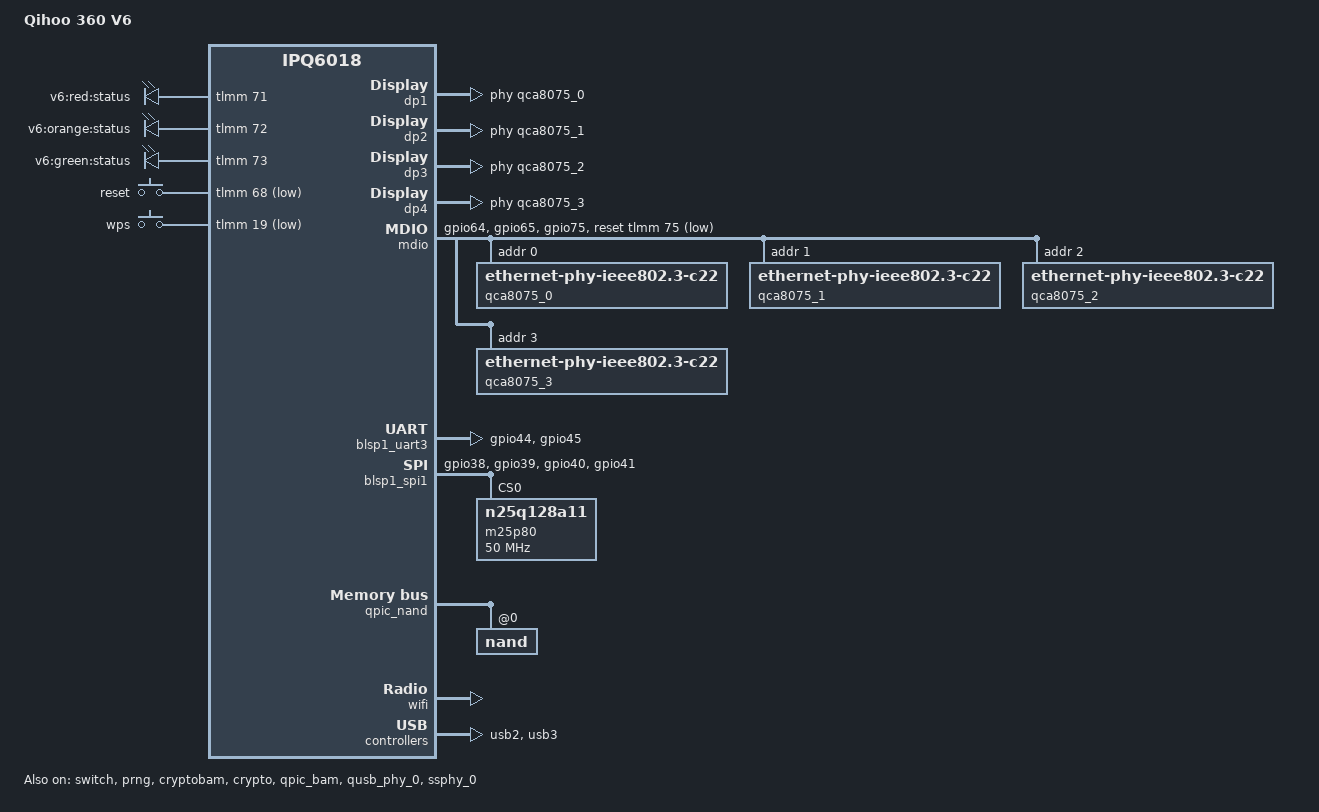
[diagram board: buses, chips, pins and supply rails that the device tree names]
// SPDX-License-Identifier: GPL-2.0-or-later OR MIT

/dts-v1/;

#include "ipq6018.dtsi"
#include "ipq6018-512m.dtsi"
#include "ipq6018-ess.dtsi"
#include "ipq6018-nss.dtsi"
#include "ipq6018-cp-cpu.dtsi"

#include <dt-bindings/gpio/gpio.h>
#include <dt-bindings/input/input.h>

/ {
	model = "Qihoo 360 V6";
	compatible = "qihoo,360v6", "qcom,ipq6018-cp03", "qcom,ipq6018";
	qcom,msm-id = <0x192 0x0>;

	aliases {
		serial0 = &blsp1_uart3;
		led-boot = &led_system_orange;
		led-failsafe = &led_system_red;
		led-running = &led_system_green;
		led-upgrade = &led_system_orange;
	};

	chosen {
		bootargs-append = " root=/dev/ubiblock0_1";
	};

	leds {
		compatible = "gpio-leds";
		pinctrl-0 = <&leds_pins>;
		pinctrl-names = "default";

		led_system_red: system-red {
			label = "v6:red:status";
			gpios = <&tlmm 71 GPIO_ACTIVE_HIGH>;
		};

		led_system_orange: system-orange {
			label = "v6:orange:status";
			gpios = <&tlmm 72 GPIO_ACTIVE_HIGH>;
		};

		led_system_green: system-green {
			label = "v6:green:status";
			gpios = <&tlmm 73 GPIO_ACTIVE_HIGH>;
		};
	};

	keys {
		compatible = "gpio-keys";

		reset {
			label = "reset";
			gpios = <&tlmm 68 GPIO_ACTIVE_LOW>;
			linux,code = <KEY_RESTART>;
		};

		wps {
			label = "wps";
			gpios = <&tlmm 19 GPIO_ACTIVE_LOW>;
			linux,code = <KEY_WPS_BUTTON>;
		};
	};
};

&tlmm {
	uart_pins: uart_pins {
		mux {
			pins = "gpio44", "gpio45";
			function = "blsp2_uart";
			drive-strength = <0x08>;
			bias-pull-down;
		};
	};

	spi_1_pins: spi_1_pins {
		mux {
			pins = "gpio38", "gpio39", "gpio40", "gpio41";
			function = "blsp0_spi";
			drive-strength = <0x08>;
			bias-pull-down;
		};
	};

	mdio_pins: mdio-pins {
		mdc {
			pins = "gpio64";
			function = "mdc";
			drive-strength = <8>;
			bias-pull-up;
		};

		mdio {
			pins = "gpio65";
			function = "mdio";
			drive-strength = <8>;
			bias-pull-up;
		};

		mux_2 {
            pins = "gpio75";
            function = "gpio";
            bias-pull-up;
        };
	};

	leds_pins: leds_pins {
		mux {
			pins = "gpio71", "gpio72", "gpio73";
			function = "gpio";
			drive-strength = <8>;
			bias-pull-down;
		};
	};
};

&dp1 {
	phy-handle = <&qca8075_0>;
	status = "okay";
	label = "lan3";
};

&dp2 {
	phy-handle = <&qca8075_1>;
	status = "okay";
	label = "lan2";
};

&dp3 {
	phy-handle = <&qca8075_2>;
	status = "okay";
	label = "lan1";
};

&dp4 {
	phy-handle = <&qca8075_3>;
	status = "okay";
	label = "wan";
};

&mdio {
	status = "okay";
	pinctrl-0 = <&mdio_pins>;
	pinctrl-names = "default";
	reset-gpios = <&tlmm 75 GPIO_ACTIVE_LOW>;

	qca8075_0: ethernet-phy@0 {
		compatible = "ethernet-phy-ieee802.3-c22";
		reg = <0>;
	};

	qca8075_1: ethernet-phy@1 {
		compatible = "ethernet-phy-ieee802.3-c22";
		reg = <1>;
	};

	qca8075_2: ethernet-phy@2 {
		compatible = "ethernet-phy-ieee802.3-c22";
		reg = <2>;
	};

	qca8075_3: ethernet-phy@3 {
		compatible = "ethernet-phy-ieee802.3-c22";
		reg = <3>;
	};
};

&switch {
	status = "okay";

	switch_cpu_bmp = <0x1>;  /* cpu port bitmap */
	switch_lan_bmp = <0xe>; /* lan port bitmap */
	switch_wan_bmp = <0x10>; /* wan port bitmap */
	switch_inner_bmp = <0xc0>; /*inner port bitmap*/
	switch_mac_mode = <0x0>; /* mac mode for uniphy instance0*/
	switch_mac_mode1 = <0xff>; /* mac mode for uniphy instance1*/
	switch_mac_mode2 = <0xff>; /* mac mode for uniphy instance2*/

	qcom,port_phyinfo {
		port@0 {
			port_id = <0x01>;
			phy_address = <0x00>;
		};
		port@1 {
			port_id = <0x02>;
			phy_address = <0x01>;
		};
		port@2 {
			port_id = <0x03>;
			phy_address = <0x02>;
		};
		port@3 {
			port_id = <0x04>;
			phy_address = <0x03>;
		};
	};
};

&blsp1_uart3 {
	pinctrl-0 = <&uart_pins>;
	pinctrl-names = "default";
	status = "okay";
};

&blsp1_spi1 {
	pinctrl-0 = <&spi_1_pins>;
	pinctrl-names = "default";
	cs-select = <0>;
	status = "okay";

	m25p80@0 {
		#address-cells = <1>;
		#size-cells = <1>;
		reg = <0>;
		compatible = "n25q128a11";
		linux,modalias = "m25p80", "n25q128a11";
		spi-max-frequency = <50000000>;
		use-default-sizes;
	};
};

&qpic_nand {
	status = "okay";

	nand@0 {
		reg = <0>;
		nand-ecc-strength = <4>;
		nand-ecc-step-size = <512>;
		nand-bus-width = <8>;
	};
};

&wifi {
	status = "okay";
	qcom,ath11k-fw-memory-mode = <1>;
	qcom,ath11k-calibration-variant = "Qihoo-360V6";
 };

&edma {
	status = "okay";
};

&prng {
	status = "okay";
};

&cryptobam {
	status = "okay";
};

&crypto {
	status = "okay";
};

&qpic_bam {
	status = "okay";
};

&qusb_phy_0 {
	status = "okay";
};

&ssphy_0 {
	status = "okay";
};

&qusb_phy_0 {
	status = "ok";
};

&usb2 {
	status = "okay";
};

&usb3 {
	status = "okay";
};
